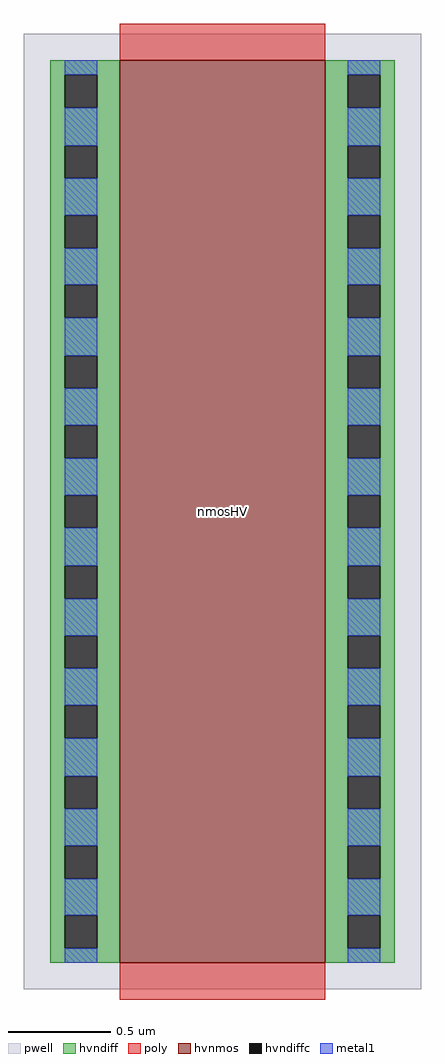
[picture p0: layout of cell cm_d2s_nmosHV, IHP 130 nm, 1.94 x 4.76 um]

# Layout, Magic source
magic
tech ihp-sg13cmos5l
magscale 1 2
<< pwell >>
rect -26 -26 362 906
<< hvnmos >>
rect 68 0 268 880
<< hvndiff >>
rect 0 866 68 880
rect 0 834 14 866
rect 46 834 68 866
rect 0 797 68 834
rect 0 765 14 797
rect 46 765 68 797
rect 0 729 68 765
rect 0 697 14 729
rect 46 697 68 729
rect 0 661 68 697
rect 0 629 14 661
rect 46 629 68 661
rect 0 592 68 629
rect 0 560 14 592
rect 46 560 68 592
rect 0 524 68 560
rect 0 492 14 524
rect 46 492 68 524
rect 0 456 68 492
rect 0 424 14 456
rect 46 424 68 456
rect 0 387 68 424
rect 0 355 14 387
rect 46 355 68 387
rect 0 319 68 355
rect 0 287 14 319
rect 46 287 68 319
rect 0 251 68 287
rect 0 219 14 251
rect 46 219 68 251
rect 0 182 68 219
rect 0 150 14 182
rect 46 150 68 182
rect 0 114 68 150
rect 0 82 14 114
rect 46 82 68 114
rect 0 46 68 82
rect 0 14 14 46
rect 46 14 68 46
rect 0 0 68 14
rect 268 866 336 880
rect 268 834 290 866
rect 322 834 336 866
rect 268 797 336 834
rect 268 765 290 797
rect 322 765 336 797
rect 268 729 336 765
rect 268 697 290 729
rect 322 697 336 729
rect 268 661 336 697
rect 268 629 290 661
rect 322 629 336 661
rect 268 592 336 629
rect 268 560 290 592
rect 322 560 336 592
rect 268 524 336 560
rect 268 492 290 524
rect 322 492 336 524
rect 268 456 336 492
rect 268 424 290 456
rect 322 424 336 456
rect 268 387 336 424
rect 268 355 290 387
rect 322 355 336 387
rect 268 319 336 355
rect 268 287 290 319
rect 322 287 336 319
rect 268 251 336 287
rect 268 219 290 251
rect 322 219 336 251
rect 268 182 336 219
rect 268 150 290 182
rect 322 150 336 182
rect 268 114 336 150
rect 268 82 290 114
rect 322 82 336 114
rect 268 46 336 82
rect 268 14 290 46
rect 322 14 336 46
rect 268 0 336 14
<< hvndiffc >>
rect 14 834 46 866
rect 14 765 46 797
rect 14 697 46 729
rect 14 629 46 661
rect 14 560 46 592
rect 14 492 46 524
rect 14 424 46 456
rect 14 355 46 387
rect 14 287 46 319
rect 14 219 46 251
rect 14 150 46 182
rect 14 82 46 114
rect 14 14 46 46
rect 290 834 322 866
rect 290 765 322 797
rect 290 697 322 729
rect 290 629 322 661
rect 290 560 322 592
rect 290 492 322 524
rect 290 424 322 456
rect 290 355 322 387
rect 290 287 322 319
rect 290 219 322 251
rect 290 150 322 182
rect 290 82 322 114
rect 290 14 322 46
<< poly >>
rect 68 880 268 916
rect 68 -36 268 0
<< metal1 >>
rect 14 866 46 880
rect 14 797 46 834
rect 14 729 46 765
rect 14 661 46 697
rect 14 592 46 629
rect 14 524 46 560
rect 14 456 46 492
rect 14 387 46 424
rect 14 319 46 355
rect 14 251 46 287
rect 14 182 46 219
rect 14 114 46 150
rect 14 46 46 82
rect 14 0 46 14
rect 290 866 322 880
rect 290 797 322 834
rect 290 729 322 765
rect 290 661 322 697
rect 290 592 322 629
rect 290 524 322 560
rect 290 456 322 492
rect 290 387 322 424
rect 290 319 322 355
rect 290 251 322 287
rect 290 182 322 219
rect 290 114 322 150
rect 290 46 322 82
rect 290 0 322 14
<< labels >>
flabel comment s 168 440 168 440 0 FreeSans 200 90 0 0 nmosHV
<< properties >>
string GDS_END 55856
string GDS_FILE custom_io/gds/sg13cmos5l_IOPadDiff2Single.uniq.gds
string GDS_START 53340
<< end >>
